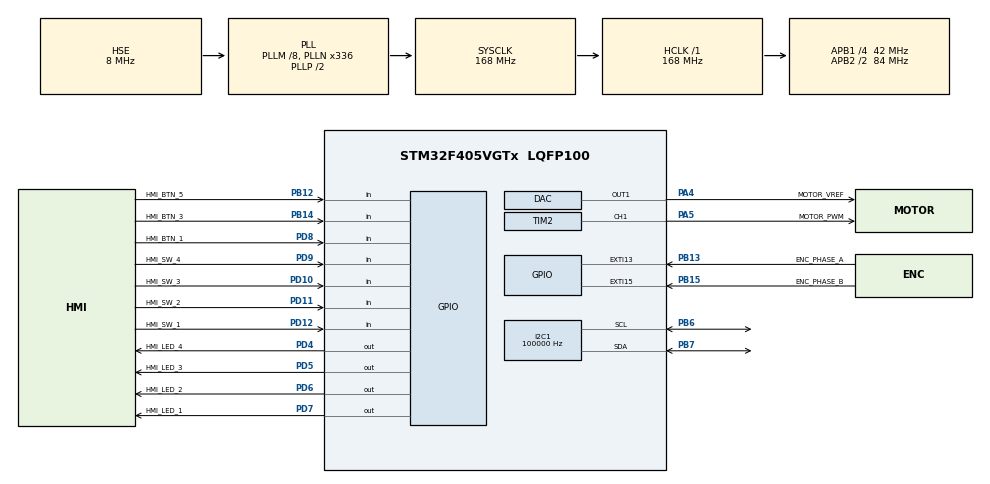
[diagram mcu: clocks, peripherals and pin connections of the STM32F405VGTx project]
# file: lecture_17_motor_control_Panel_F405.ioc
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I2C1.ClockSpeed=100000
Mcu.Family=STM32F4
Mcu.Name=STM32F405VGTx
Mcu.Package=LQFP100
NVIC.EXTI15_10_IRQn=true\:0\:0\:false\:false\:true\:true\:true\:true
NVIC.PriorityGroup=NVIC_PRIORITYGROUP_4
NVIC.TIM1_UP_TIM10_IRQn=true\:0\:0\:false\:false\:true\:true\:true\:true
PA13.Mode=Serial_Wire
PA13.Signal=SYS_JTMS-SWDIO
PA14.Mode=Serial_Wire
PA14.Signal=SYS_JTCK-SWCLK
PA4.GPIO_Label=MOTOR_VREF
PA4.Signal=COMP_DAC1_group
PA5.GPIO_Label=MOTOR_PWM
PA5.Signal=S_TIM2_CH1_ETR
PB12.GPIO_Label=HMI_BTN_5
PB12.GPIO_PuPd=GPIO_PULLDOWN
PB12.Signal=GPIO_Input
PB13.GPIO_Label=ENC_PHASE_A
PB13.GPIO_ModeDefaultEXTI=GPIO_MODE_IT_RISING_FALLING
PB13.GPIO_PuPd=GPIO_PULLDOWN
PB13.Signal=GPXTI13
PB14.GPIO_Label=HMI_BTN_3
PB14.GPIO_PuPd=GPIO_PULLDOWN
PB14.Signal=GPIO_Input
PB15.GPIO_Label=ENC_PHASE_B
PB15.GPIO_ModeDefaultEXTI=GPIO_MODE_IT_RISING_FALLING
PB15.GPIO_PuPd=GPIO_PULLDOWN
PB15.Signal=GPXTI15
PB6.Mode=I2C
PB6.Signal=I2C1_SCL
PB7.Mode=I2C
PB7.Signal=I2C1_SDA
PD10.GPIO_Label=HMI_SW_3
PD10.Signal=GPIO_Input
PD11.GPIO_Label=HMI_SW_2
PD11.Signal=GPIO_Input
PD12.GPIO_Label=HMI_SW_1
PD12.Signal=GPIO_Input
PD4.GPIO_Label=HMI_LED_4
PD4.GPIO_ModeDefaultOutputPP=GPIO_MODE_OUTPUT_PP
PD4.GPIO_PuPd=GPIO_NOPULL
PD4.GPIO_Speed=GPIO_SPEED_FREQ_LOW
PD4.PinState=GPIO_PIN_RESET
PD4.Signal=GPIO_Output
PD5.GPIO_Label=HMI_LED_3
PD5.GPIO_ModeDefaultOutputPP=GPIO_MODE_OUTPUT_PP
PD5.GPIO_PuPd=GPIO_NOPULL
PD5.GPIO_Speed=GPIO_SPEED_FREQ_LOW
PD5.PinState=GPIO_PIN_RESET
PD5.Signal=GPIO_Output
PD6.GPIO_Label=HMI_LED_2
PD6.GPIO_ModeDefaultOutputPP=GPIO_MODE_OUTPUT_PP
PD6.GPIO_PuPd=GPIO_NOPULL
PD6.GPIO_Speed=GPIO_SPEED_FREQ_LOW
PD6.PinState=GPIO_PIN_RESET
PD6.Signal=GPIO_Output
PD7.GPIO_Label=HMI_LED_1
PD7.GPIO_ModeDefaultOutputPP=GPIO_MODE_OUTPUT_PP
PD7.GPIO_PuPd=GPIO_NOPULL
PD7.GPIO_Speed=GPIO_SPEED_FREQ_LOW
PD7.PinState=GPIO_PIN_RESET
PD7.Signal=GPIO_Output
PD8.GPIO_Label=HMI_BTN_1
PD8.GPIO_PuPd=GPIO_PULLDOWN
PD8.Signal=GPIO_Input
PD9.GPIO_Label=HMI_SW_4
PD9.Signal=GPIO_Input
PH0-OSC_IN.Mode=HSE-External-Oscillator
PH0-OSC_IN.Signal=RCC_OSC_IN
PH1-OSC_OUT.Mode=HSE-External-Oscillator
PH1-OSC_OUT.Signal=RCC_OSC_OUT
ProjectManager.HeapSize=0x200
ProjectManager.StackSize=0x400
ProjectManager.TargetToolchain=STM32CubeIDE
RCC.AHBFreq_Value=168000000
RCC.APB1CLKDivider=RCC_HCLK_DIV4
RCC.APB1Freq_Value=42000000
RCC.APB1TimFreq_Value=84000000
RCC.APB2CLKDivider=RCC_HCLK_DIV2
RCC.APB2Freq_Value=84000000
RCC.APB2TimFreq_Value=168000000
RCC.CortexFreq_Value=168000000
RCC.HCLKFreq_Value=168000000
RCC.HSE_VALUE=8000000
RCC.HSI_VALUE=16000000
RCC.LSE_VALUE=32768
RCC.PLLM=8
RCC.PLLN=336
RCC.PLLQ=7
RCC.PLLSourceVirtual=RCC_PLLSOURCE_HSE
RCC.SYSCLKFreq_VALUE=168000000
RCC.SYSCLKSource=RCC_SYSCLKSOURCE_PLLCLK
RCC.VCOOutputFreq_Value=336000000
SH.COMP_DAC1_group.0=DAC_OUT1,DAC_OUT1
SH.S_TIM2_CH1_ETR.0=TIM2_CH1,PWM Generation1 CH1
TIM10.AutoReloadPreload=TIM_AUTORELOAD_PRELOAD_ENABLE
TIM10.Period=1000-1
TIM10.Prescaler=1680-1
TIM2.Channel-PWM\ Generation1\ CH1=TIM_CHANNEL_1
TIM2.Period=65535
TIM2.Prescaler=0
VP_TIM10_VS_ClockSourceINT.Mode=Enable_Timer
VP_TIM2_VS_ClockSourceINT.Mode=Internal
board=custom

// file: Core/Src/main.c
/* USER CODE BEGIN Header */
/**
  ******************************************************************************
  * @file           : main.c
  * @brief          : Main program body
  ******************************************************************************
  * @attention
  *
  * Copyright (c) 2026 STMicroelectronics.
  * All rights reserved.
  *
  * This software is licensed under terms that can be found in the LICENSE file
  * in the root directory of this software component.
  * If no LICENSE file comes with this software, it is provided AS-IS.
  *
  ******************************************************************************
  */
/* USER CODE END Header */
#include "main.h"
#include "dac.h"
#include "i2c.h"
#include "tim.h"
#include "gpio.h"

/* USER CODE BEGIN Includes */
#include "motor.h"
#include "OLED.h"
#include <stdio.h>
/* USER CODE END Includes */

void SystemClock_Config(void);

/* USER CODE BEGIN 0 */
// [panel] I2C-busz helyreallitasa. Ha a feltoltes vagy a reset egy atvitel kozepen erte a buszt,
// egy szenzor lefogva tarthatja az SDA-t (neki nincs reset laba, csak a tap elvetele allitja vissza).
// Ilyenkor minden I2C-hivas hibat ad, a kijelzo sem indul. A gyogymod: legfeljebb 9 orajel az SCL-en,
// amig az SDA el nem engedodik, aztan egy STOP. Az MX_I2C1_Init() elott kell lefutnia.
static void I2C_Bus_Recovery(void)
{
  GPIO_InitTypeDef gpio = {0};
  __HAL_RCC_GPIOB_CLK_ENABLE();
  HAL_GPIO_WritePin(GPIOB, GPIO_PIN_6 | GPIO_PIN_7, GPIO_PIN_SET);
  gpio.Pin = GPIO_PIN_6 | GPIO_PIN_7;          // PB6 = SCL, PB7 = SDA, most sima open-drain kimenetkent
  gpio.Mode = GPIO_MODE_OUTPUT_OD;
  gpio.Pull = GPIO_NOPULL;
  gpio.Speed = GPIO_SPEED_FREQ_LOW;
  HAL_GPIO_Init(GPIOB, &gpio);
  for (int i = 0; i < 9 && HAL_GPIO_ReadPin(GPIOB, GPIO_PIN_7) == GPIO_PIN_RESET; i++)
  {
    HAL_GPIO_WritePin(GPIOB, GPIO_PIN_6, GPIO_PIN_RESET);
    HAL_Delay(1);
    HAL_GPIO_WritePin(GPIOB, GPIO_PIN_6, GPIO_PIN_SET);
    HAL_Delay(1);
  }
  // START, majd STOP (SDA le, aztan fel, mikozben az SCL magas): minden eszkoz alapallapotba ker
  HAL_GPIO_WritePin(GPIOB, GPIO_PIN_7, GPIO_PIN_RESET);
  HAL_Delay(1);
  HAL_GPIO_WritePin(GPIOB, GPIO_PIN_7, GPIO_PIN_SET);
  HAL_Delay(1);
}
/* USER CODE END 0 */

int main(void)
{

  /* MCU Configuration--------------------------------------------------------*/

  /* Reset of all peripherals, Initializes the Flash interface and the Systick. */
  HAL_Init();

  /* Configure the system clock */
  SystemClock_Config();

  /* USER CODE BEGIN SysInit */
  I2C_Bus_Recovery();   // [panel] lasd fent
  /* USER CODE END SysInit */

  /* Initialize all configured peripherals */
  MX_GPIO_Init();
  MX_I2C1_Init();
  MX_DAC_Init();
  MX_TIM2_Init();
  MX_TIM10_Init();
  /* USER CODE BEGIN 2 */

  OLED_Init();
  Motor_init();

  char display_char[20];
  set_speed_percent = 0;
  uint8_t fel_elozo = 0;      // [panel] a fel es a le gomb elozo allapota (csak a lenyomaskor lep)
  uint8_t le_elozo = 0;
  uint32_t kijelzo_ido = 0;   // [panel] mikor frissult utoljara a kijelzo
  /* USER CODE END 2 */

  /* Infinite loop */
  /* USER CODE BEGIN WHILE */
  while (1)
  {
	  /* [panel] Uzemmod a kapcsolokbol: SW1 = b (max), SW3 = e (PWM), SW4 = i (VREF), kulonben a (ki) */
	  Motor_setOpModeFromSwitches();

	  /* [panel] A gombok: egy lenyomas = egy lepes (a Nucleos valtozat addig lepett, amig nyomtad) */
	  uint8_t fel = HAL_GPIO_ReadPin(HMI_BTN_1_GPIO_Port, HMI_BTN_1_Pin);
	  uint8_t le = HAL_GPIO_ReadPin(HMI_BTN_5_GPIO_Port, HMI_BTN_5_Pin);

	  /* Increase speed by pushing Button 1 (fel) */
	  if (fel && !fel_elozo)
	  {
		  set_speed_percent += 10;
	  }

	  /* Decrease speed by pushing Button 5 (le) */
	  if (le && !le_elozo)
	  {
		  set_speed_percent -= 10;
	  }

	  /* Stop motor by pushing Button 3 (kozep) */
	  if (HAL_GPIO_ReadPin(HMI_BTN_3_GPIO_Port, HMI_BTN_3_Pin))
	  {
		  set_speed_percent = 0;
	  }
	  fel_elozo = fel;
	  le_elozo = le;

	  if (set_speed_percent > 100)
	  {
		  set_speed_percent = 100;
	  }
	  else if (set_speed_percent < 0)
	  {
		  set_speed_percent = 0;   // [panel] csak elore (a RIN-t nem vezereljuk)
	  }

	  /* Set the motor speed */
	  Motor_setSpeedPercent(set_speed_percent);
    /* USER CODE END WHILE */

    /* USER CODE BEGIN 3 */
	  /* [panel] A kijelzo frissitese az I2C-n kb. 0,1 s, ezert csak 0,2 s-onkent rajzolunk,
	   * a gombokat viszont 10 ms-onkent nezzuk. (A Nucleos grafikon itt nincs.) */
	  if (HAL_GetTick() - kijelzo_ido >= 200)
	  {
		  kijelzo_ido = HAL_GetTick();
		  OLED_Fill(Black);

		  OLED_SetCursor(2, 0);
		  OLED_WriteString("MOTOR", Font_11x18, White);

		  sprintf(display_char, "SW %d%d%d%d", (switch_state & 1) ? 1 : 0, (switch_state & 2) ? 1 : 0,
				  (switch_state & 4) ? 1 : 0, (switch_state & 8) ? 1 : 0);
		  OLED_SetCursor(72, 4);
		  OLED_WriteString(display_char, Font_7x10, White);

		  switch (motor_mode)
		  {
			  case MOTOR_MODE_B: sprintf(display_char, "b max"); break;
			  case MOTOR_MODE_E: sprintf(display_char, "e PWM %ld%%", set_speed_percent); break;
			  case MOTOR_MODE_I: sprintf(display_char, "i VREF %ld%%", set_speed_percent); break;
			  default:           sprintf(display_char, "a ki (%ld%%)", set_speed_percent); break;
		  }
		  OLED_SetCursor(2, 20);
		  OLED_WriteString(display_char, Font_7x10, White);

		  sprintf(display_char, "EncPos %ld", encoder_position_act);
		  OLED_SetCursor(2, 30);
		  OLED_WriteString(display_char, Font_7x10, White);

		  sprintf(display_char, "EncRPM %ld", (int32_t)encoder_speed_rpm);
		  OLED_SetCursor(2, 40);
		  OLED_WriteString(display_char, Font_7x10, White);

		  sprintf(display_char, "OutRPM %ld", (int32_t)output_speed_rpm);
		  OLED_SetCursor(2, 50);
		  OLED_WriteString(display_char, Font_7x10, White);

		  OLED_UpdateScreen();
	  }
	  HAL_Delay(10);
  }
  /* USER CODE END 3 */
}

void SystemClock_Config(void)
{
  RCC_OscInitTypeDef RCC_OscInitStruct = {0};
  RCC_ClkInitTypeDef RCC_ClkInitStruct = {0};

  /** Configure the main internal regulator output voltage
  */
  __HAL_RCC_PWR_CLK_ENABLE();
  __HAL_PWR_VOLTAGESCALING_CONFIG(PWR_REGULATOR_VOLTAGE_SCALE1);

  /** Initializes the RCC Oscillators according to the specified parameters
  * in the RCC_OscInitTypeDef structure.
  */
  RCC_OscInitStruct.OscillatorType = RCC_OSCILLATORTYPE_HSE;
  RCC_OscInitStruct.HSEState = RCC_HSE_ON;
  RCC_OscInitStruct.PLL.PLLState = RCC_PLL_ON;
  RCC_OscInitStruct.PLL.PLLSource = RCC_PLLSOURCE_HSE;
  RCC_OscInitStruct.PLL.PLLM = 8;
  RCC_OscInitStruct.PLL.PLLN = 336;
  RCC_OscInitStruct.PLL.PLLP = RCC_PLLP_DIV2;
  RCC_OscInitStruct.PLL.PLLQ = 7;
  if (HAL_RCC_OscConfig(&RCC_OscInitStruct) != HAL_OK)
  {
    Error_Handler();
  }

  /** Initializes the CPU, AHB and APB buses clocks
  */
  RCC_ClkInitStruct.ClockType = RCC_CLOCKTYPE_HCLK|RCC_CLOCKTYPE_SYSCLK
                              |RCC_CLOCKTYPE_PCLK1|RCC_CLOCKTYPE_PCLK2;
  RCC_ClkInitStruct.SYSCLKSource = RCC_SYSCLKSOURCE_PLLCLK;
  RCC_ClkInitStruct.AHBCLKDivider = RCC_SYSCLK_DIV1;
  RCC_ClkInitStruct.APB1CLKDivider = RCC_HCLK_DIV4;
  RCC_ClkInitStruct.APB2CLKDivider = RCC_HCLK_DIV2;

  if (HAL_RCC_ClockConfig(&RCC_ClkInitStruct, FLASH_LATENCY_5) != HAL_OK)
  {
    Error_Handler();
  }
}

void Error_Handler(void)
{
  /* USER CODE BEGIN Error_Handler_Debug */
  /* User can add his own implementation to report the HAL error return state */
  // [panel] Ha valami nem indul el: mind a 4 LED egyutt villog
  __disable_irq();
  __HAL_RCC_GPIOD_CLK_ENABLE();
  GPIO_InitTypeDef gpio = {0};
  gpio.Pin = HMI_LED_1_Pin | HMI_LED_2_Pin | HMI_LED_3_Pin | HMI_LED_4_Pin;
  gpio.Mode = GPIO_MODE_OUTPUT_PP;
  HAL_GPIO_Init(GPIOD, &gpio);
  while (1)
  {
    HAL_GPIO_TogglePin(GPIOD, gpio.Pin);
    for (volatile uint32_t i = 0; i < 3000000; i++);   // kb. 0,2 s (itt a HAL_Delay nem megy: tiltva a megszakitas)
  }
  /* USER CODE END Error_Handler_Debug */
}
